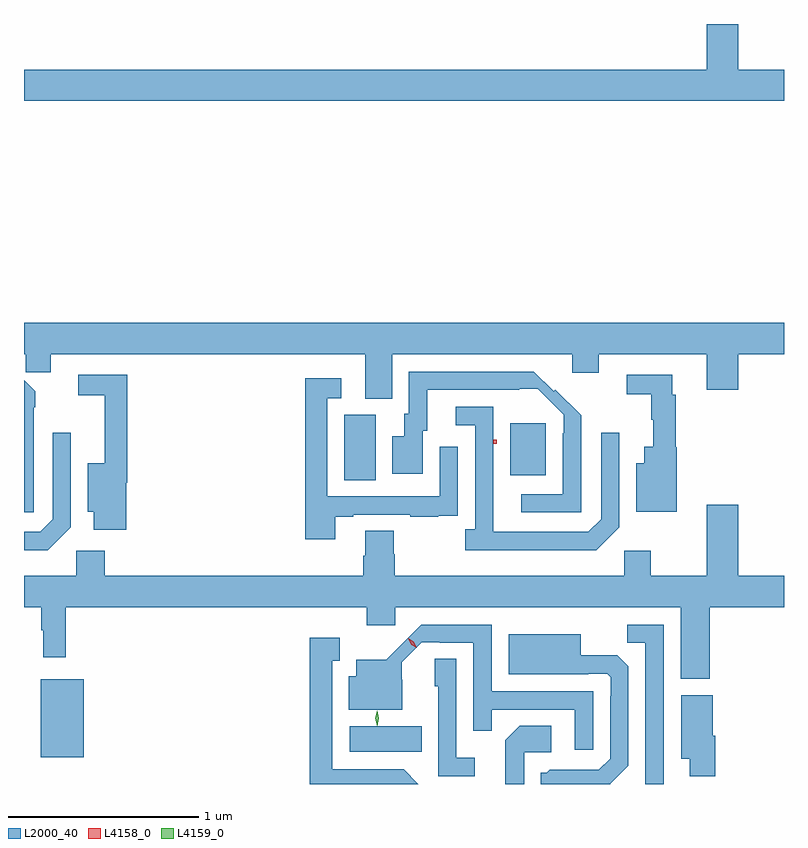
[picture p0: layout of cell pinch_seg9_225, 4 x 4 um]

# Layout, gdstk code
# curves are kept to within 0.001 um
import gdstk
lib = gdstk.Library(unit=1e-6, precision=1e-09)
def R(c, l, rs):  # rectangles x0, y0, x1, y1
    for r in rs: c.add(gdstk.rectangle(r[:2], r[2:], *l))
def P(c, l, *ps):  # polygons
    for p in ps: c.add(gdstk.Polygon(p, *l))
L2000_40 = (2000, 40)
L4158_0 = (4158, 0)
L4159_0 = (4159, 0)

pinch_seg9_225 = lib.new_cell('pinch_seg9_225')
R(pinch_seg9_225, L2000_40, [(617.045,1206.287,617.272,1206.697), (618.672,1206.314,619.052,1206.448), (618.644,1207.744,618.808,1208.088), (619.517,1207.769,619.705,1208.044)])
P(pinch_seg9_225, L2000_40, [(620.958,1209.904),(620.716,1209.904),(620.716,1210.145),(620.552,1210.145),(620.552,1209.904),(616.958,1209.904),(616.958,1209.74),(620.958,1209.74)],
  [(618.895,1208.408),(619.844,1208.408),(619.844,1208.309),(619.984,1208.309),(619.984,1208.408),(620.552,1208.408),(620.552,1208.22),(620.716,1208.22),(620.716,1208.408),(620.958,1208.408),(620.958,1208.572),(616.958,1208.572),(616.958,1208.408),(616.968,1208.408),(616.968,1208.313),(617.098,1208.313),(617.098,1208.408),(618.755,1208.408),(618.755,1208.173),(618.895,1208.173)],
  [(619.89,1208.085),(619.755,1208.22),(619.747,1208.212),(619.642,1208.316),(618.984,1208.316),(618.984,1208.094),(618.959,1208.094),(618.959,1207.975),(618.896,1207.975),(618.896,1207.779),(619.057,1207.779),(619.057,1208.004),(619.081,1208.004),(619.081,1208.22),(619.565,1208.22),(619.565,1208.226),(619.662,1208.226),(619.8,1208.088),(619.8,1207.991),(619.794,1207.991),(619.794,1207.671),(619.575,1207.671),(619.575,1207.575),(619.89,1207.575)],
  [(617.495,1207.73),(617.501,1207.73),(617.501,1208.298),(617.244,1208.298),(617.244,1208.19),(617.384,1208.19),(617.384,1207.834),(617.294,1207.834),(617.294,1207.577),(617.324,1207.577),(617.324,1207.482),(617.495,1207.482)],
  [(620.393,1207.917),(620.387,1207.917),(620.387,1208.195),(620.369,1208.195),(620.369,1208.298),(620.13,1208.298),(620.13,1208.197),(620.259,1208.197),(620.259,1208.061),(620.27,1208.061),(620.27,1207.921),(620.222,1207.921),(620.222,1207.834),(620.18,1207.834),(620.18,1207.577),(620.393,1207.577)],
  [(618.595,1207.551),(618.691,1207.551),(618.691,1207.563),(618.991,1207.563),(618.991,1207.551),(619.139,1207.551),(619.139,1207.557),(619.241,1207.557),(619.241,1207.666),(619.242,1207.666),(619.242,1207.921),(619.146,1207.921),(619.146,1207.659),(618.555,1207.659),(618.555,1208.175),(618.628,1208.175),(618.628,1208.281),(618.439,1208.281),(618.439,1207.434),(618.595,1207.434)],
  [(617.01,1208.127),(617.016,1208.127),(617.016,1208.213),(616.958,1208.27),(616.958,1207.575),(617.01,1207.575)],
  [(620.091,1207.497),(620.091,1207.993),(619.995,1207.993),(619.995,1207.539),(619.929,1207.473),(619.429,1207.473),(619.428,1208.13),(619.23,1208.13),(619.23,1208.034),(619.332,1208.034),(619.332,1207.486),(619.281,1207.486),(619.281,1207.376),(619.97,1207.376)],
  [(617.205,1207.497),(617.205,1207.993),(617.109,1207.993),(617.109,1207.539),(617.043,1207.473),(616.958,1207.473),(616.958,1207.376),(617.084,1207.376)],
  [(620.567,1207.076),(620.958,1207.076),(620.958,1207.24),(620.716,1207.24),(620.716,1207.615),(620.552,1207.615),(620.552,1207.24),(620.257,1207.24),(620.257,1207.372),(620.118,1207.372),(620.118,1207.24),(618.908,1207.24),(618.908,1207.353),(618.903,1207.353),(618.903,1207.478),(618.755,1207.478),(618.755,1207.346),(618.743,1207.346),(618.743,1207.24),(617.384,1207.24),(617.384,1207.372),(617.232,1207.372),(617.232,1207.24),(616.958,1207.24),(616.958,1207.076),(617.049,1207.076),(617.049,1206.953),(617.06,1206.953),(617.06,1206.813),(617.177,1206.813),(617.177,1207.076),(618.761,1207.076),(618.761,1206.981),(618.912,1206.981),(618.912,1207.076),(620.414,1207.076),(620.414,1206.698),(620.567,1206.698)],
  [(619.953,1206.633),(619.419,1206.633),(619.419,1206.984),(619.05,1206.984),(618.865,1206.799),(618.707,1206.799),(618.707,1206.712),(618.668,1206.712),(618.668,1206.536),(618.95,1206.536),(618.95,1206.695),(618.945,1206.695),(618.945,1206.785),(619.051,1206.891),(619.147,1206.891),(619.147,1206.888),(619.323,1206.888),(619.323,1206.424),(619.421,1206.424),(619.421,1206.537),(619.857,1206.537),(619.857,1206.324),(619.953,1206.324)],
  [(620.325,1206.984),(620.134,1206.984),(620.134,1206.889),(620.229,1206.889),(620.229,1206.145),(620.325,1206.145)],
  [(620.047,1206.149),(620.139,1206.242),(620.139,1206.764),(620.08,1206.823),(619.888,1206.823),(619.888,1206.934),(619.508,1206.934),(619.508,1206.722),(619.928,1206.722),(619.928,1206.726),(620.028,1206.726),(620.046,1206.708),(620.046,1206.608),(620.043,1206.608),(620.043,1206.279),(619.983,1206.219),(619.726,1206.22),(619.71,1206.204),(619.679,1206.204),(619.679,1206.145),(620.043,1206.145)],
  [(618.957,1206.222),(618.58,1206.222),(618.58,1206.795),(618.619,1206.795),(618.619,1206.916),(618.462,1206.916),(618.462,1206.145),(619.034,1206.145)],
  [(619.33,1206.283),(619.233,1206.283),(619.233,1206.803),(619.121,1206.803),(619.121,1206.66),(619.137,1206.66),(619.137,1206.186),(619.33,1206.186)],
  [(620.597,1206.399),(620.584,1206.399),(620.584,1206.613),(620.417,1206.613),(620.417,1206.278),(620.462,1206.278),(620.462,1206.185),(620.597,1206.185)],
  [(619.59,1206.312),(619.732,1206.312),(619.732,1206.452),(619.567,1206.452),(619.491,1206.376),(619.491,1206.145),(619.59,1206.145)])
R(pinch_seg9_225, L4158_0, [(619.427,1207.936,619.447,1207.956)])
P(pinch_seg9_225, L4158_0, [(619.025,1206.861),(618.995,1206.879),(618.98,1206.911),(618.98,1206.911),(618.98,1206.911),(619.01,1206.893),(619.025,1206.861),(619.025,1206.861)])
P(pinch_seg9_225, L4159_0, [(618.816,1206.45),(618.816,1206.45),(618.806,1206.49),(618.816,1206.531),(618.816,1206.531),(618.816,1206.531),(618.826,1206.49),(618.816,1206.45)])

lib.write_gds('pinch_seg9_225.gds')
